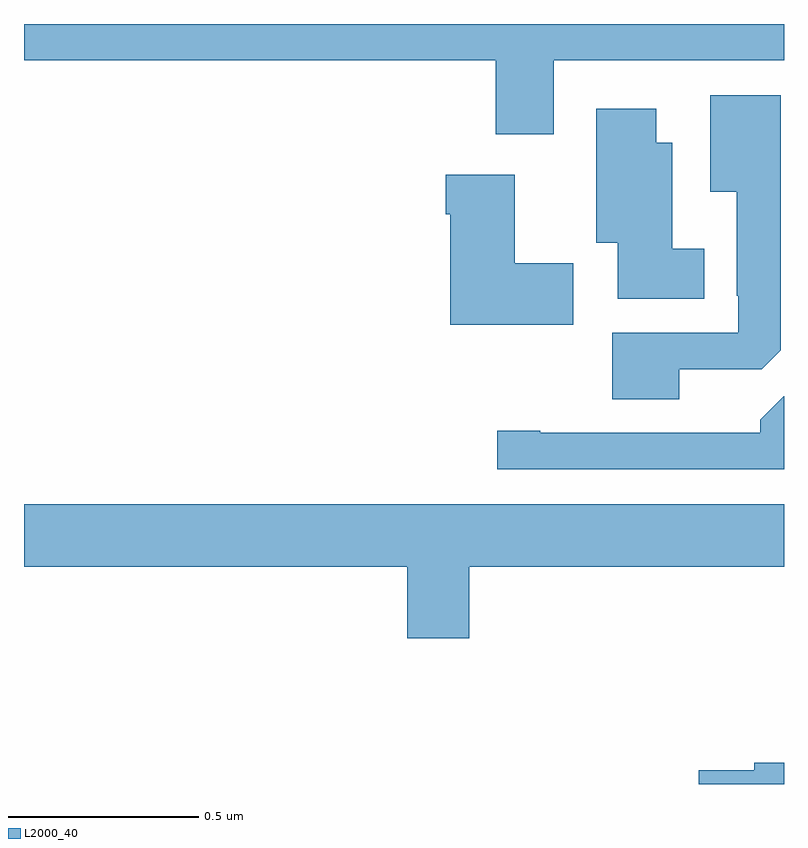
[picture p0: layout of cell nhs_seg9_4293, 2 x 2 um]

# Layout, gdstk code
import gdstk
lib = gdstk.Library(unit=1e-6, precision=1e-09)
def P(c, l, *ps):  # polygons
    for p in ps: c.add(gdstk.Polygon(p, *l))
L2000_40 = (2000, 40)

nhs_seg9_4293 = lib.new_cell('nhs_seg9_4293')
P(nhs_seg9_4293, L2000_40, [(164,1212.404),(165.242,1212.404),(165.242,1212.21),(165.394,1212.21),(165.394,1212.404),(166,1212.404),(166,1212.5),(164,1212.5)],
  [(165.724,1211.592),(165.942,1211.592),(165.991,1211.641),(165.991,1212.313),(165.806,1212.313),(165.806,1212.059),(165.875,1212.059),(165.875,1211.785),(165.879,1211.785),(165.879,1211.688),(165.548,1211.688),(165.548,1211.513),(165.724,1211.513)],
  [(165.79,1211.908),(165.706,1211.908),(165.706,1212.187),(165.664,1212.187),(165.664,1212.277),(165.506,1212.277),(165.506,1211.924),(165.563,1211.924),(165.563,1211.777),(165.79,1211.777)],
  [(165.445,1211.871),(165.292,1211.871),(165.292,1212.103),(165.11,1212.103),(165.11,1211.999),(165.122,1211.999),(165.122,1211.708),(165.445,1211.708)],
  [(166,1211.52),(165.999,1211.52),(165.938,1211.458),(165.938,1211.424),(165.358,1211.424),(165.358,1211.429),(165.246,1211.429),(165.246,1211.328),(166,1211.328)],
  [(165.172,1211.072),(166,1211.072),(166,1211.236),(164,1211.236),(164,1211.072),(165.008,1211.072),(165.008,1210.884),(165.172,1210.884)],
  [(166,1210.556),(165.922,1210.556),(165.922,1210.536),(165.776,1210.536),(165.776,1210.5),(166,1210.5)])

lib.write_gds('nhs_seg9_4293.gds')
